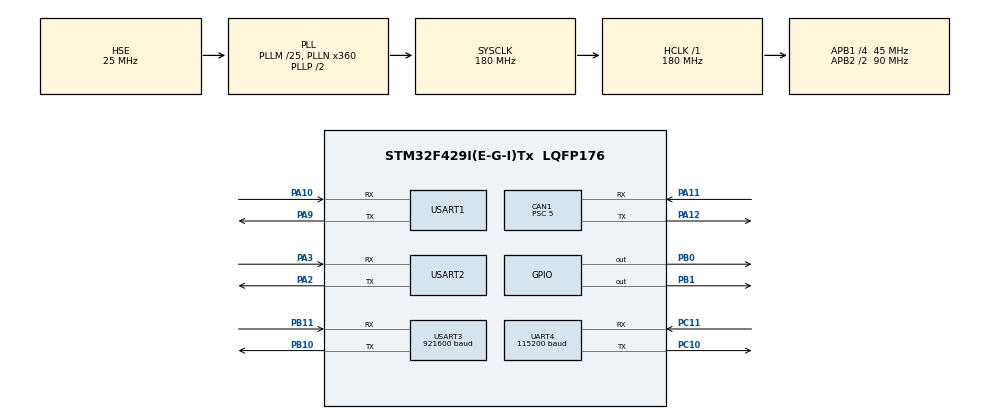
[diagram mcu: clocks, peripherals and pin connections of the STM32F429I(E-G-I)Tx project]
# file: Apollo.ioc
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CAN1.BS1=CAN_BS1_9TQ
CAN1.BS2=CAN_BS2_8TQ
CAN1.CalculateTimeBit=2000
CAN1.CalculateTimeQuantum=111.11111111111111
CAN1.Mode=CAN_MODE_NORMAL
CAN1.Prescaler=5
Mcu.Family=STM32F4
Mcu.Name=STM32F429I(E-G-I)Tx
Mcu.Package=LQFP176
NVIC.CAN1_RX0_IRQn=true\:3\:0\:true\:false\:true
NVIC.PriorityGroup=NVIC_PRIORITYGROUP_4
NVIC.UART4_IRQn=true\:3\:0\:true\:false\:true
NVIC.USART1_IRQn=true\:1\:0\:true\:false\:true
NVIC.USART2_IRQn=true\:2\:0\:true\:false\:true
NVIC.USART3_IRQn=true\:3\:0\:true\:false\:true
PA10.Mode=Asynchronous
PA10.Signal=USART1_RX
PA11.Mode=Master
PA11.Signal=CAN1_RX
PA12.Mode=Master
PA12.Signal=CAN1_TX
PA2.Mode=Asynchronous
PA2.Signal=USART2_TX
PA3.Mode=Asynchronous
PA3.Signal=USART2_RX
PA9.Mode=Asynchronous
PA9.Signal=USART1_TX
PB0.GPIO_PuPd=GPIO_PULLUP
PB0.GPIO_Speed=GPIO_SPEED_FREQ_HIGH
PB0.PinState=GPIO_PIN_SET
PB0.Signal=GPIO_Output
PB1.GPIO_PuPd=GPIO_PULLUP
PB1.GPIO_Speed=GPIO_SPEED_FREQ_HIGH
PB1.PinState=GPIO_PIN_SET
PB1.Signal=GPIO_Output
PB10.Mode=Asynchronous
PB10.Signal=USART3_TX
PB11.Mode=Asynchronous
PB11.Signal=USART3_RX
PC10.Mode=Asynchronous
PC10.Signal=UART4_TX
PC11.Mode=Asynchronous
PC11.Signal=UART4_RX
PH0/OSC_IN.Mode=HSE-External-Oscillator
PH0/OSC_IN.Signal=RCC_OSC_IN
PH1/OSC_OUT.Mode=HSE-External-Oscillator
PH1/OSC_OUT.Signal=RCC_OSC_OUT
ProjectManager.HeapSize=0x200
ProjectManager.StackSize=0x400
ProjectManager.TargetToolchain=MDK-ARM V5
RCC.48MHZClocksFreq_Value=90000000
RCC.AHBFreq_Value=180000000
RCC.APB1CLKDivider=RCC_HCLK_DIV4
RCC.APB1Freq_Value=45000000
RCC.APB1TimFreq_Value=90000000
RCC.APB2CLKDivider=RCC_HCLK_DIV2
RCC.APB2Freq_Value=90000000
RCC.APB2TimFreq_Value=180000000
RCC.CortexFreq_Value=180000000
RCC.HCLKFreq_Value=180000000
RCC.HSE_VALUE=25000000
RCC.HSI_VALUE=16000000
RCC.LSE_VALUE=32768
RCC.PLLM=25
RCC.PLLN=360
RCC.PLLSourceVirtual=RCC_PLLSOURCE_HSE
RCC.SYSCLKFreq_VALUE=180000000
RCC.SYSCLKSource=RCC_SYSCLKSOURCE_PLLCLK
RCC.VCOOutputFreq_Value=360000000
UART4.BaudRate=115200
UART4.VirtualMode=Asynchronous
USART1.VirtualMode=VM_ASYNC
USART2.VirtualMode=VM_ASYNC
USART3.BaudRate=921600
USART3.VirtualMode=VM_ASYNC
board=Apollo

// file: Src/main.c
/**
  ******************************************************************************
  * File Name          : main.c
  * Description        : Main program body
  ******************************************************************************
  *
  * COPYRIGHT(c) 2018 STMicroelectronics
  *
  * Redistribution and use in source and binary forms, with or without modification,
  * are permitted provided that the following conditions are met:
  *   1. Redistributions of source code must retain the above copyright notice,
  *      this list of conditions and the following disclaimer.
  *   2. Redistributions in binary form must reproduce the above copyright notice,
  *      this list of conditions and the following disclaimer in the documentation
  *      and/or other materials provided with the distribution.
  *   3. Neither the name of STMicroelectronics nor the names of its contributors
  *      may be used to endorse or promote products derived from this software
  *      without specific prior written permission.
  *
  * THIS SOFTWARE IS PROVIDED BY THE COPYRIGHT HOLDERS AND CONTRIBUTORS "AS IS"
  * AND ANY EXPRESS OR IMPLIED WARRANTIES, INCLUDING, BUT NOT LIMITED TO, THE
  * IMPLIED WARRANTIES OF MERCHANTABILITY AND FITNESS FOR A PARTICULAR PURPOSE ARE
  * DISCLAIMED. IN NO EVENT SHALL THE COPYRIGHT HOLDER OR CONTRIBUTORS BE LIABLE
  * FOR ANY DIRECT, INDIRECT, INCIDENTAL, SPECIAL, EXEMPLARY, OR CONSEQUENTIAL
  * DAMAGES (INCLUDING, BUT NOT LIMITED TO, PROCUREMENT OF SUBSTITUTE GOODS OR
  * SERVICES; LOSS OF USE, DATA, OR PROFITS; OR BUSINESS INTERRUPTION) HOWEVER
  * CAUSED AND ON ANY THEORY OF LIABILITY, WHETHER IN CONTRACT, STRICT LIABILITY,
  * OR TORT (INCLUDING NEGLIGENCE OR OTHERWISE) ARISING IN ANY WAY OUT OF THE USE
  * OF THIS SOFTWARE, EVEN IF ADVISED OF THE POSSIBILITY OF SUCH DAMAGE.
  *
  ******************************************************************************
  */
#include "main.h"
#include "stm32f4xx_hal.h"
#include "can.h"
#include "usart.h"
#include "gpio.h"

/* USER CODE BEGIN Includes */
#include "string.h"
#include "Communication.h"
#include "PathData.h"
#include "lcd_show.h"
#include "AutoPilot.h"
#include "CommonAlg.h"
#include "math.h"
#include "stmflash.h"
/* USER CODE END Includes */

/* USER CODE BEGIN PV */
/* Private variables ---------------------------------------------------------*/
//路径文件相关
extern PathPoint gPathPoints[PATH_PT_SIZE];
extern int gValidPathPtNum;//
extern uint16_t gCurPathId;

//APP通信相关  （LoRa USART1）
extern HEART_BEAT_DATA gHeartBeat;

//自动驾驶传感器相关  （RS232 USART2）
//extern uint8_t RS232_REGISTER[RS232_BUF_LEN];
//extern volatile uint8_t RS232_REG_VALID;
//extern INM_Data gINMData;

/* USER CODE END PV */

void SystemClock_Config(void);
void Error_Handler(void);

/* USER CODE BEGIN PFP */
/* Private function prototypes -----------------------------------------------*/
//void lcdshow(char*s);
//void lcdshowcmd(CmdType cmd);
//void lcdshowenginemode(TypeEngineMode mode);
//void lcdshowdrivermode(TypeDriverMode mode);
//void lcdshowtanklevel(uint8_t level);
//void lcdshowbatteryvolt(uint16_t voltage);
//void lcdshowinmdata(INM_Data data);
/* USER CODE END PFP */

/* USER CODE BEGIN 0 */
#ifdef __GNUC__
/* With GCC/RAISONANCE, small printf (option LD Linker->Libraries->Small printf
   set to 'Yes') calls __io_putchar() */
#define PUTCHAR_PROTOTYPE int __io_putchar(int ch)
#else
#define PUTCHAR_PROTOTYPE int fputc(int ch, FILE *f)
#endif /* __GNUC__ */
/* USER CODE END 0 */

int main(void)
{

  /* USER CODE BEGIN 1 */
	char lcdtext[50];
  /* USER CODE END 1 */

  /* MCU Configuration----------------------------------------------------------*/

  /* Reset of all peripherals, Initializes the Flash interface and the Systick. */
  HAL_Init();

  /* Configure the system clock */
  SystemClock_Config();

  /* Initialize all configured peripherals */
  MX_GPIO_Init();
  MX_USART1_UART_Init();
  MX_CAN1_Init();
  MX_USART3_UART_Init();
  MX_USART2_UART_Init();
  MX_UART4_Init();

  /* USER CODE BEGIN 2 */

	//printf("new program: apollo 8\n");

	//【1】初始化。。。
	initCan1();
	SDRAM_Init();                   //初始化SDRAM
	initPathPointsData();

	LCD_Init();                     //LCD初始化
//	POINT_COLOR=RED;
//	LCD_Clear(GREEN);
//	lcdshow("AgriX Project!!!HHHHHHHHHHHHHHHHHHHHHHHHHHHHHHHHHHHHHHH\n");
//	lcdshowpilotstate(100);
//	lcdshowcmd(100);
//	lcdshowenginemode(100);
//	lcdshowdrivermode(100);
//	lcdshowtanklevel(200);
//	lcdshowbatteryvolt(1000);
//
//	INM_Data inmdata;
//	inmdata.longitude=DEG2RAD(113.897329);
//	inmdata.latitude=DEG2RAD(22.960622);
//	inmdata.yaw=0.1;
//	inmdata.roll=0.2;
//	inmdata.pitch=0.3;
//	lcdshowinmdata(inmdata);

	printf("testing...\n");

	InitAutoPilot();//自动驾驶初始化

	//【2】测试。。。
//	uint8_t testbuf[4]={0xda,0x0f,0x49,0x40};
//	float testvalue=0;
//	memcpy(&testvalue,testbuf,4);
//
//	sprintf(lcdtext,"test value=%f\n",testvalue);
//	lcdshow(lcdtext);

  /* USER CODE END 2 */

  /* Infinite loop */
  /* USER CODE BEGIN WHILE */
	while (1)
	{
		RunPilot();

  /* USER CODE END WHILE */

	}

}

/** System Clock Configuration
*/
void SystemClock_Config(void)
{

  RCC_OscInitTypeDef RCC_OscInitStruct;
  RCC_ClkInitTypeDef RCC_ClkInitStruct;

    /**Configure the main internal regulator output voltage
    */
  __HAL_RCC_PWR_CLK_ENABLE();

  __HAL_PWR_VOLTAGESCALING_CONFIG(PWR_REGULATOR_VOLTAGE_SCALE1);

    /**Initializes the CPU, AHB and APB busses clocks
    */
  RCC_OscInitStruct.OscillatorType = RCC_OSCILLATORTYPE_HSE;
  RCC_OscInitStruct.HSEState = RCC_HSE_ON;
  RCC_OscInitStruct.PLL.PLLState = RCC_PLL_ON;
  RCC_OscInitStruct.PLL.PLLSource = RCC_PLLSOURCE_HSE;
  RCC_OscInitStruct.PLL.PLLM = 25;
  RCC_OscInitStruct.PLL.PLLN = 360;
  RCC_OscInitStruct.PLL.PLLP = RCC_PLLP_DIV2;
  RCC_OscInitStruct.PLL.PLLQ = 4;
  if (HAL_RCC_OscConfig(&RCC_OscInitStruct) != HAL_OK)
  {
    Error_Handler();
  }

    /**Activate the Over-Drive mode
    */
  if (HAL_PWREx_EnableOverDrive() != HAL_OK)
  {
    Error_Handler();
  }

    /**Initializes the CPU, AHB and APB busses clocks
    */
  RCC_ClkInitStruct.ClockType = RCC_CLOCKTYPE_HCLK|RCC_CLOCKTYPE_SYSCLK
                              |RCC_CLOCKTYPE_PCLK1|RCC_CLOCKTYPE_PCLK2;
  RCC_ClkInitStruct.SYSCLKSource = RCC_SYSCLKSOURCE_PLLCLK;
  RCC_ClkInitStruct.AHBCLKDivider = RCC_SYSCLK_DIV1;
  RCC_ClkInitStruct.APB1CLKDivider = RCC_HCLK_DIV4;
  RCC_ClkInitStruct.APB2CLKDivider = RCC_HCLK_DIV2;

  if (HAL_RCC_ClockConfig(&RCC_ClkInitStruct, FLASH_LATENCY_5) != HAL_OK)
  {
    Error_Handler();
  }

    /**Configure the Systick interrupt time
    */
  HAL_SYSTICK_Config(HAL_RCC_GetHCLKFreq()/1000);

    /**Configure the Systick
    */
  HAL_SYSTICK_CLKSourceConfig(SYSTICK_CLKSOURCE_HCLK);

  /* SysTick_IRQn interrupt configuration */
  HAL_NVIC_SetPriority(SysTick_IRQn, 0, 0);
}

/* USER CODE BEGIN 4 */
/**
  * @brief  Retargets the C library printf function to the USART.
  * @param  None
  * @retval None
  */
PUTCHAR_PROTOTYPE
{
  /* Place your implementation of fputc here */
  /* e.g. write a character to the USART1 and Loop until the end of transmission */
  //HAL_UART_Transmit(&huart1, (uint8_t *)&ch, 1, 0xFFFF);
	ITM_SendChar(ch);
	return ch;
}

//void lcdshow(char*s)
//{
//	LCD_ShowString(10,5,260,32*2,16,(u8*)s);
//}
//void lcdshowcmd(CmdType cmd)
//{
//	char ss[50];
//	switch(cmd)
//	{
//		case CMD_AUTO:
//			sprintf(ss,"CMD_AUTO\n");
//			break;
//		case CMD_MANUAL:
//			sprintf(ss,"CMD_MANUAL\n");
//			break;
//		case CMD_HEARTBEAT:
//			sprintf(ss,"CMD_HEARTBEAT\n");
//			break;
//		case CMD_BLE_END:
//			sprintf(ss,"CMD_BLE_END\n");
//			break;
//		case CMD_STOP:
//			sprintf(ss,"CMD_STOP\n");
//			break;
//		case CMD_SUPPLY:
//			sprintf(ss,"CMD_SUPPLY\n");
//			break;
//		case CMD_TRANSITION:
//			sprintf(ss,"CMD_TRANSITION\n");
//			break;
//		default:
//			sprintf(ss,"CMD_NO\n");
//			break;
//	}

//	LCD_Fill(10,20,200,20+16,WHITE);
//	LCD_ShowString(10,20,260,32,16,(u8*)ss);
//}

//void lcdshowenginemode(TypeEngineMode mode)
//{
//		char ss[50];
//	switch(mode)
//	{
//		case ENGINE_MODE_START:
//			sprintf(ss,"Engine Sate:Start!\n");
//			break;
//		case ENGINE_MODE_STOP:
//			sprintf(ss,"Engine Sate:Stop!\n");
//			break;
//		default:
//			sprintf(ss,"Engine Sate:Unknown!\n");
//			break;
//	}

//	LCD_Fill(10,40,200,40+16,WHITE);
//	LCD_ShowString(10,40,260,32,16,(u8*)ss);
//}

//void lcdshowdrivermode(TypeDriverMode mode)
//{
//		char ss[50];
//	switch(mode)
//	{
//		case DRIVER_MODE_AUTO:
//			sprintf(ss,"Driver Sate:Auto!\n");
//			break;
//		case DRIVER_MODE_MANUAL:
//			sprintf(ss,"Driver Sate:Manual!\n");
//			break;
//		case DRIVER_MODE_EMERGENCY:
//			sprintf(ss,"Driver Sate:Emergency!\n");
//			break;
//		default:
//			sprintf(ss,"Driver Sate:Unknown!\n");
//			break;
//	}

//	LCD_Fill(10,60,200,60+16,WHITE);
//	LCD_ShowString(10,60,260,32,16,(u8*)ss);
//}

//void lcdshowtanklevel(uint8_t level)
//{
//	char ss[50];
//	sprintf(ss,"Tank Level:%d\n",level);
//
//	LCD_Fill(10,80,200,80+16,WHITE);
//	LCD_ShowString(10,80,260,32,16,(u8*)ss);
//}

//void lcdshowbatteryvolt(uint16_t voltage)
//{
//	char ss[50];
//	sprintf(ss,"Baterry Volt:%d\n",voltage);
//
//	LCD_Fill(10,100,200,100+16,WHITE);
//	LCD_ShowString(10,100,260,32,16,(u8*)ss);
//}

//void lcdshowinmdata(INM_Data data)
//{
//	char ss[100];
//	sprintf(ss,"INM data:lon=%f,lat=%f,alt=%f,rol=%f,pit=%f,yaw=%f    \n",data.longitude,data.latitude,data.altitude,data.roll,data.pitch,data.yaw);
//
//	LCD_Fill(10,120,200,120+16,WHITE);
//	LCD_ShowString(10,120,260,32,12,(u8*)ss);
//}

/* USER CODE END 4 */

void Error_Handler(void)
{
  while(1)
  {
  }
}

/************************ (C) COPYRIGHT STMicroelectronics *****END OF FILE****/
